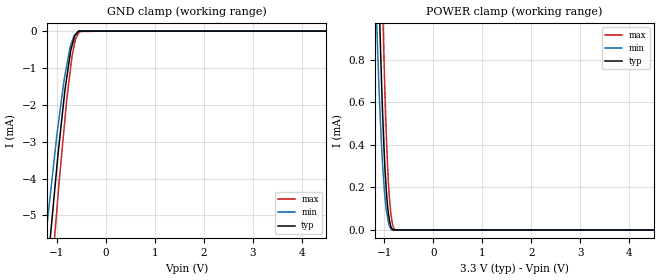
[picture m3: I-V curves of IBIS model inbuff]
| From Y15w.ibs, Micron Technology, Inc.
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|   inbuff MODEL
[Model]   inbuff
Model_type   Input
Vinl = 800.000mV
Vinh = 2.000V
|   typ   min   max
C_comp   2.140pF   2.040pF   2.240pF
[Voltage Range]   3.300V   3.000V   3.600V
[Temperature Range]   25.0   85.0   0.0
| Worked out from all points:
|   GND clamp passes 1 mA (typ) near -0.77 V on its own axis
|   POWER clamp passes 1 mA (typ) near -1.10 V on its own axis
[GND Clamp]
|   Voltage   I(typ)   I(min)   I(max)
-3.3V     -722mA     -758mA     -709.1mA
-1.39V    -9.49mA    NA         NA
-1.17V    -6.072mA   NA         NA
-980mV    -3.355mA   NA         NA
-840mV    -1.626mA   NA         NA
-720mV    -526.3uA   NA         NA
-640mV    -133.3uA   NA         NA
-560mV    0A         0A         NA
6.6V      0A         0A         0A
[POWER Clamp]
|   Voltage   I(typ)   I(min)   I(max)
-3.3V     36.63mA    31.07mA    41.24mA
-1.17V    1.664mA    NA         NA
-1.15V    1.463mA    NA         NA
-1.1V     1.005mA    597.4uA    1.726mA
-1.08V    842.1uA    491.1uA    1.498mA
-1.04V    557.4uA    312.2uA    1.078mA
-1.02V    437.6uA    240.1uA    890.2uA
-990mV    288.7uA    NA         640.5uA
-940mV    118.9uA    NA         316.9uA
-860mV    8.606uA    0A         NA
-820mV    0A         NA         12.83uA
6.6V      0A         0A         0A
